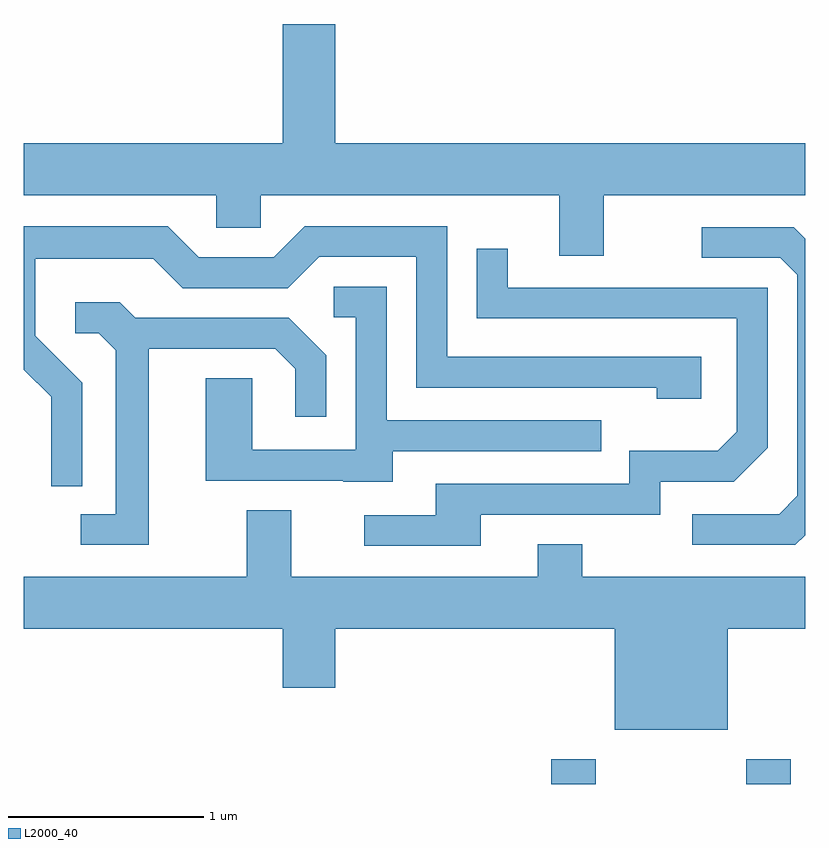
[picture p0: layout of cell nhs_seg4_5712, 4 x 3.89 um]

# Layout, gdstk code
import gdstk
lib = gdstk.Library(unit=1e-6, precision=1e-09)
def R(c, l, rs):  # rectangles x0, y0, x1, y1
    for r in rs: c.add(gdstk.rectangle(r[:2], r[2:], *l))
def P(c, l, *ps):  # polygons
    for p in ps: c.add(gdstk.Polygon(p, *l))
L2000_40 = (2000, 40)

nhs_seg4_5712 = lib.new_cell('nhs_seg4_5712')
R(nhs_seg4_5712, L2000_40, [(356.311,1253.982,356.539,1254.109), (357.311,1253.982,357.539,1254.109)])
P(nhs_seg4_5712, L2000_40, [(356.579,1256.996),(357.611,1256.996),(357.611,1257.264),(355.204,1257.264),(355.204,1257.874),(354.936,1257.874),(354.936,1257.264),(353.611,1257.264),(353.611,1256.996),(354.596,1256.996),(354.596,1256.831),(354.824,1256.831),(354.824,1256.996),(356.351,1256.996),(356.351,1256.686),(356.579,1256.686)],
  [(353.909,1256.037),(353.669,1256.277),(353.669,1256.671),(354.274,1256.671),(354.424,1256.521),(354.962,1256.521),(355.122,1256.681),(355.621,1256.681),(355.621,1256.011),(356.851,1256.011),(356.851,1255.956),(357.079,1255.956),(357.079,1256.169),(355.779,1256.169),(355.779,1256.839),(355.049,1256.839),(354.889,1256.679),(354.507,1256.679),(354.347,1256.839),(353.611,1256.839),(353.611,1256.104),(353.751,1255.964),(353.751,1255.508),(353.909,1255.508)],
  [(357.611,1255.255),(357.611,1256.775),(357.552,1256.834),(357.083,1256.834),(357.083,1256.676),(357.484,1256.676),(357.571,1256.589),(357.571,1255.457),(357.479,1255.364),(357.033,1255.364),(357.033,1255.206),(357.562,1255.206)],
  [(355.949,1255.361),(356.869,1255.361),(356.869,1255.531),(357.247,1255.531),(357.419,1255.704),(357.419,1256.524),(356.089,1256.524),(356.089,1256.723),(355.931,1256.723),(355.931,1256.366),(357.261,1256.366),(357.261,1255.787),(357.164,1255.689),(356.711,1255.689),(356.711,1255.519),(355.721,1255.519),(355.721,1255.359),(355.353,1255.359),(355.353,1255.201),(355.949,1255.201)],
  [(355.499,1255.686),(356.568,1255.686),(356.568,1255.844),(355.469,1255.844),(355.469,1256.529),(355.198,1256.529),(355.198,1256.371),(355.311,1256.371),(355.311,1255.694),(354.779,1255.694),(354.779,1256.059),(354.541,1256.059),(354.541,1255.536),(355.245,1255.536),(355.245,1255.531),(355.499,1255.531)],
  [(354.249,1256.211),(354.899,1256.211),(355.001,1256.109),(355.001,1255.863),(355.159,1255.863),(355.159,1256.177),(354.967,1256.369),(354.182,1256.369),(354.102,1256.449),(353.873,1256.449),(353.873,1256.291),(353.994,1256.291),(354.081,1256.204),(354.081,1255.364),(353.903,1255.364),(353.903,1255.206),(354.249,1255.206)],
  [(357.214,1254.776),(357.611,1254.776),(357.611,1255.044),(356.469,1255.044),(356.469,1255.209),(356.241,1255.209),(356.241,1255.044),(354.979,1255.044),(354.979,1255.384),(354.751,1255.384),(354.751,1255.044),(353.611,1255.044),(353.611,1254.776),(354.936,1254.776),(354.936,1254.476),(355.204,1254.476),(355.204,1254.776),(356.636,1254.776),(356.636,1254.261),(357.214,1254.261)])

lib.write_gds('nhs_seg4_5712.gds')
